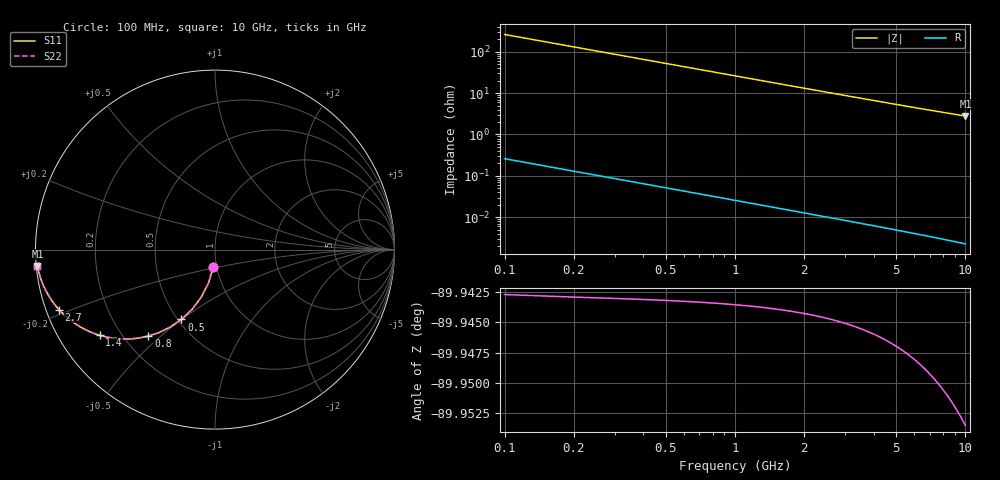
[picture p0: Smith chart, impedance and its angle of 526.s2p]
# Hz S RI R 50.00
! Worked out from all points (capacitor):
!   100 points, 100 MHz to 10 GHz, reference 50 ohm
!   read as one part in shunt: C = 6.11 pF near 100 MHz
!   lowest |Z| = 2.8 ohm at 10 GHz (marker M1)
!   S11 on the Smith chart (normalised r, x): 100 MHz: 0.96, -0.18; 500 MHz: 0.52, -0.50; 800 MHz: 0.30, -0.46; 1.4 GHz: 0.12, -0.33; 2.7 GHz: 0.04, -0.19; 10 GHz: 0.00, -0.05
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1e8  -0.00921 -0.095  0.9908 -0.0952  0.9908 -0.0952  -0.00921 -0.095
2e8  -0.0357 -0.1849  0.9643 -0.1853  0.9643 -0.1853  -0.0357 -0.1849
3e8  -0.0768 -0.2655  0.9232 -0.266  0.9232 -0.266  -0.0768 -0.2655
4e8  -0.1287 -0.334  0.8713 -0.3347  0.8713 -0.3347  -0.1287 -0.334
5e8  -0.1874 -0.3893  0.8126 -0.3902  0.8126 -0.3902  -0.1874 -0.3893
6e8  -0.2492 -0.4315  0.7508 -0.4326  0.7508 -0.4326  -0.2492 -0.4315
7e8  -0.311 -0.4618  0.6889 -0.463  0.6889 -0.463  -0.311 -0.4618
8e8  -0.3708 -0.4818  0.6292 -0.4832  0.6292 -0.4832  -0.3708 -0.4818
9e8  -0.4271 -0.4933  0.5729 -0.495  0.5729 -0.495  -0.4271 -0.4933
1.1e9  -0.5266 -0.4978  0.4733 -0.4998  0.4733 -0.4998  -0.5266 -0.4978
1.2e9  -0.5696 -0.4935  0.4304 -0.4957  0.4304 -0.4957  -0.5696 -0.4935
1.4e9  -0.6428 -0.4774  0.3571 -0.4799  0.3571 -0.4799  -0.6428 -0.4774
1.6e9  -0.7014 -0.4557  0.2986 -0.4586  0.2986 -0.4586  -0.7014 -0.4557
1.8e9  -0.7481 -0.4319  0.2518 -0.4352  0.2518 -0.4352  -0.7481 -0.4319
2.2e9  -0.8159 -0.3851  0.1841 -0.3891  0.1841 -0.3891  -0.8159 -0.3851
2.7e9  -0.8695 -0.3338  0.1304 -0.3387  0.1304 -0.3387  -0.8695 -0.3338
3.4e9  -0.9135 -0.2775  0.0865 -0.2837  0.0865 -0.2837  -0.9135 -0.2775
4.2e9  -0.9415 -0.2302  0.0584 -0.238  0.0584 -0.238  -0.9415 -0.2302
5.1e9  -0.9596 -0.1916  0.0403 -0.201  0.0403 -0.201  -0.9596 -0.1916
6.7e9  -0.9763 -0.1452  0.0236 -0.1578  0.0236 -0.1578  -0.9763 -0.1452
8.4e9  -0.9849 -0.1132  0.015 -0.1292  0.015 -0.1292  -0.9849 -0.1132
1e10  -0.9894 -0.0919  0.0104 -0.1111  0.0104 -0.1111  -0.9894 -0.0919
